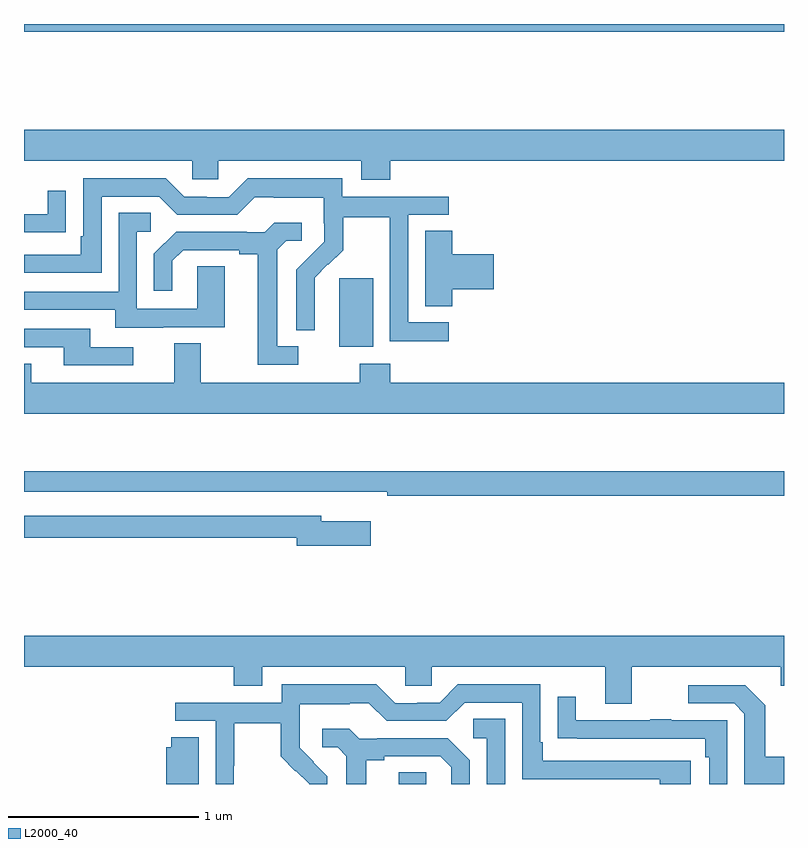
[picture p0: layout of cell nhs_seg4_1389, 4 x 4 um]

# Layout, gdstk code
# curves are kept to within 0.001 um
import gdstk
lib = gdstk.Library(unit=1e-6, precision=1e-09)
def R(c, l, rs):  # rectangles x0, y0, x1, y1
    for r in rs: c.add(gdstk.rectangle(r[:2], r[2:], *l))
def P(c, l, *ps):  # polygons
    for p in ps: c.add(gdstk.Polygon(p, *l))
L2000_40 = (2000, 40)

nhs_seg4_1389 = lib.new_cell('nhs_seg4_1389')
R(nhs_seg4_1389, L2000_40, [(184.973,766.9,185.118,766.961), (184.658,769.202,184.837,769.563), (183,770.86,187,770.9)])
P(nhs_seg4_1389, L2000_40, [(184.928,770.18),(187,770.18),(187,770.344),(183,770.344),(183,770.18),(183.885,770.18),(183.885,770.082),(184.023,770.082),(184.023,770.18),(184.775,770.18),(184.775,770.081),(184.928,770.081)],
  [(185.236,769.329),(185.022,769.329),(185.022,769.896),(185.236,769.896),(185.236,769.992),(184.674,769.992),(184.674,770.089),(184.177,770.089),(184.077,769.989),(183.962,769.989),(183.962,769.992),(183.843,769.992),(183.747,770.088),(183.312,770.088),(183.312,769.783),(183.299,769.783),(183.299,769.686),(183,769.686),(183,769.59),(183.408,769.59),(183.408,769.992),(183.711,769.992),(183.807,769.896),(184.122,769.896),(184.215,769.989),(184.315,769.989),(184.315,769.985),(184.578,769.985),(184.578,769.851),(184.58,769.851),(184.58,769.754),(184.434,769.606),(184.434,769.288),(184.53,769.288),(184.529,769.565),(184.599,769.635),(184.602,769.632),(184.679,769.709),(184.679,769.884),(184.924,769.884),(184.924,769.66),(184.926,769.66),(184.926,769.231),(185.236,769.231)],
  [(183.119,769.804),(183.221,769.804),(183.221,770.023),(183.125,770.023),(183.125,769.899),(183,769.899),(183,769.803),(183.119,769.803)],
  [(183.733,769.305),(184.057,769.305),(184.057,769.625),(183.912,769.625),(183.912,769.401),(183.594,769.401),(183.594,769.806),(183.667,769.806),(183.667,769.907),(183.498,769.907),(183.498,769.491),(183,769.491),(183,769.395),(183.479,769.395),(183.479,769.301),(183.733,769.301)],
  [(184.444,769.203),(184.333,769.203),(184.333,769.711),(184.38,769.758),(184.462,769.758),(184.462,769.855),(184.318,769.855),(184.266,769.803),(184.172,769.803),(184.172,769.806),(183.8,769.806),(183.684,769.69),(183.684,769.497),(183.781,769.497),(183.781,769.653),(183.838,769.71),(184.133,769.71),(184.133,769.688),(184.229,769.688),(184.229,769.107),(184.444,769.107)],
  [(185.255,769.505),(185.473,769.505),(185.473,769.688),(185.255,769.688),(185.255,769.811),(185.111,769.811),(185.111,769.414),(185.255,769.414)],
  [(183.574,769.2),(183.349,769.2),(183.349,769.296),(183,769.296),(183,769.2),(183.209,769.2),(183.209,769.104),(183.574,769.104)],
  [(187,769.012),(184.928,769.012),(184.928,769.111),(184.768,769.111),(184.768,769.012),(183.931,769.012),(183.931,769.22),(183.791,769.22),(183.791,769.012),(183.037,769.012),(183.037,769.111),(183,769.111),(183,768.848),(187,768.848)],
  [(187,768.547),(183,768.547),(183,768.438),(184.66,768.438),(184.66,768.437),(184.912,768.437),(184.912,768.418),(187,768.418)],
  [(184.825,768.283),(184.564,768.283),(184.564,768.312),(183,768.312),(183,768.196),(184.436,768.196),(184.436,768.154),(184.825,768.154)],
  [(186.199,767.516),(186.983,767.516),(186.983,767.417),(187,767.417),(187,767.68),(183,767.68),(183,767.516),(184.103,767.516),(184.103,767.417),(184.255,767.417),(184.255,767.516),(185.007,767.516),(185.007,767.418),(185.145,767.418),(185.145,767.516),(186.059,767.516),(186.059,767.322),(186.199,767.322)],
  [(184.104,766.996),(184.107,766.996),(184.107,767.22),(184.351,767.22),(184.351,767.045),(184.428,766.968),(184.431,766.971),(184.502,766.9),(184.596,766.9),(184.596,766.942),(184.45,767.09),(184.45,767.187),(184.452,767.187),(184.452,767.321),(184.715,767.321),(184.715,767.325),(184.815,767.325),(184.908,767.232),(185.223,767.232),(185.319,767.328),(185.622,767.328),(185.622,766.926),(186.347,766.926),(186.347,766.9),(186.508,766.9),(186.508,767.022),(185.731,767.022),(185.731,767.119),(185.718,767.119),(185.718,767.424),(185.283,767.424),(185.187,767.328),(185.069,767.328),(185.069,767.325),(184.953,767.325),(184.853,767.425),(184.356,767.425),(184.356,767.328),(183.795,767.328),(183.795,767.232),(184.008,767.232),(184.008,766.9),(184.104,766.9)],
  [(187,767.043),(186.901,767.043),(186.901,767.315),(186.795,767.421),(186.495,767.421),(186.495,767.325),(186.738,767.325),(186.792,767.271),(186.792,766.9),(187,766.9)],
  [(186.702,767.235),(186.407,767.235),(186.407,767.24),(186.295,767.24),(186.295,767.235),(185.905,767.235),(185.905,767.359),(185.809,767.359),(185.809,767.14),(185.911,767.14),(185.911,767.139),(186.586,767.139),(186.586,767.042),(186.606,767.042),(186.606,766.9),(186.702,766.9)],
  [(185.532,767.243),(185.364,767.243),(185.364,767.142),(185.436,767.142),(185.436,766.9),(185.532,766.9)],
  [(184.801,767.024),(184.897,767.024),(184.897,767.046),(185.192,767.046),(185.249,766.989),(185.249,766.9),(185.346,766.9),(185.346,767.026),(185.23,767.142),(184.858,767.142),(184.858,767.139),(184.764,767.139),(184.712,767.191),(184.569,767.191),(184.569,767.094),(184.65,767.094),(184.697,767.047),(184.697,766.9),(184.801,766.9)],
  [(183.919,767.147),(183.776,767.147),(183.776,767.094),(183.749,767.094),(183.749,766.9),(183.919,766.9)])

lib.write_gds('nhs_seg4_1389.gds')
